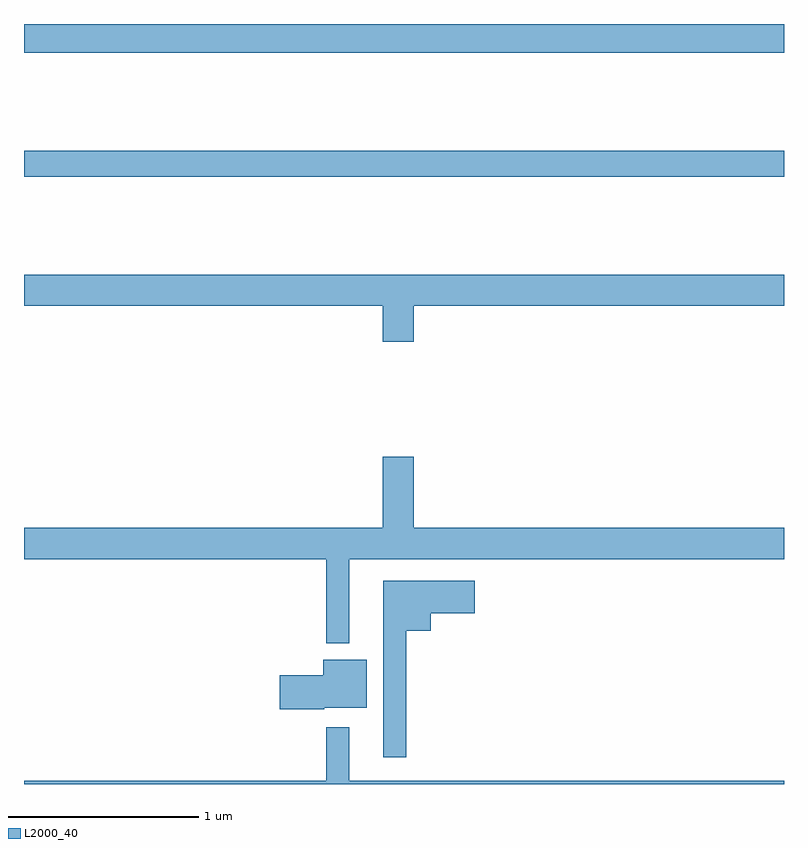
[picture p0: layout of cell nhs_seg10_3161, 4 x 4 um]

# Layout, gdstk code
import gdstk
lib = gdstk.Library(unit=1e-6, precision=1e-09)
def R(c, l, rs):  # rectangles x0, y0, x1, y1
    for r in rs: c.add(gdstk.rectangle(r[:2], r[2:], *l))
def P(c, l, *ps):  # polygons
    for p in ps: c.add(gdstk.Polygon(p, *l))
L2000_40 = (2000, 40)

nhs_seg10_3161 = lib.new_cell('nhs_seg10_3161')
R(nhs_seg10_3161, L2000_40, [(283,1267.696,287,1267.832), (283,1268.348,287,1268.5)])
P(nhs_seg10_3161, L2000_40, [(285.052,1267.016),(287,1267.016),(287,1267.18),(283,1267.18),(283,1267.016),(284.888,1267.016),(284.888,1266.828),(285.052,1266.828)],
  [(284.713,1265.684),(287,1265.684),(287,1265.848),(285.052,1265.848),(285.052,1266.223),(284.888,1266.223),(284.888,1265.848),(283,1265.848),(283,1265.684),(284.592,1265.684),(284.592,1265.24),(284.713,1265.24)],
  [(285.013,1265.306),(285.142,1265.306),(285.142,1265.399),(285.373,1265.399),(285.373,1265.569),(284.891,1265.569),(284.891,1264.641),(285.013,1264.641)],
  [(284.58,1264.901),(284.803,1264.901),(284.803,1265.155),(284.576,1265.155),(284.576,1265.072),(284.346,1265.072),(284.346,1264.894),(284.58,1264.894)],
  [(287,1264.516),(284.713,1264.516),(284.713,1264.798),(284.592,1264.798),(284.592,1264.516),(283,1264.516),(283,1264.5),(287,1264.5)])

lib.write_gds('nhs_seg10_3161.gds')
